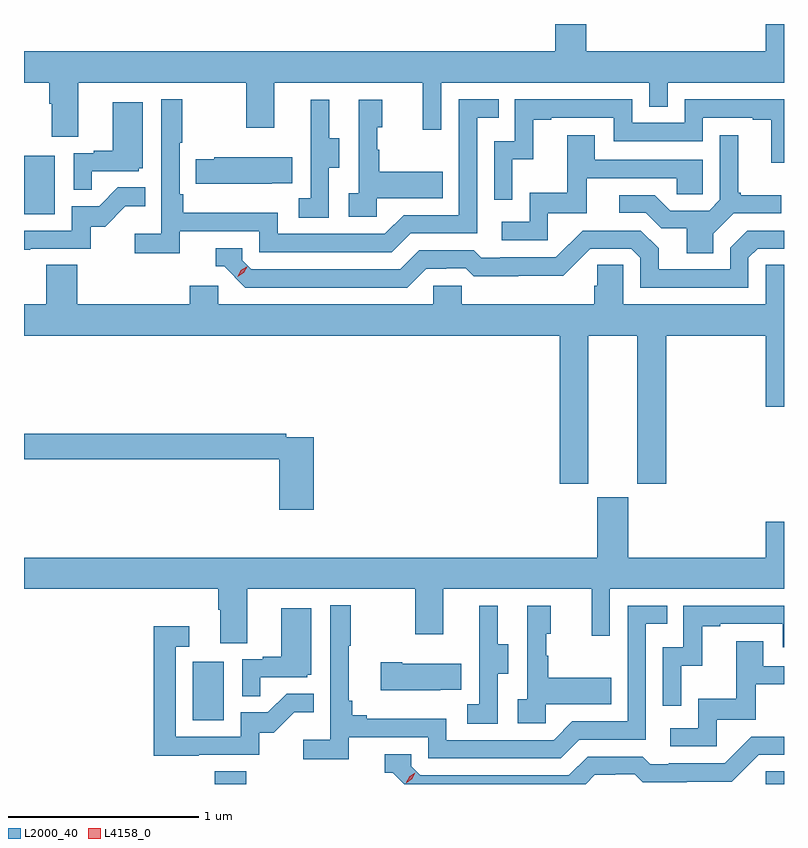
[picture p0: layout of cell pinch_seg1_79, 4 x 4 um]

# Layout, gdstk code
import gdstk
lib = gdstk.Library(unit=1e-6, precision=1e-09)
def R(c, l, rs):  # rectangles x0, y0, x1, y1
    for r in rs: c.add(gdstk.rectangle(r[:2], r[2:], *l))
def P(c, l, *ps):  # polygons
    for p in ps: c.add(gdstk.Polygon(p, *l))
L2000_40 = (2000, 40)
L4158_0 = (4158, 0)

pinch_seg1_79 = lib.new_cell('pinch_seg1_79')
R(pinch_seg1_79, L2000_40, [(1061.207,573.348,1061.372,573.416), (1064.107,573.348,1064.203,573.416), (1061.09,573.684,1061.254,573.991), (1060.203,576.348,1060.366,576.655)])
P(pinch_seg1_79, L2000_40, [(1060.489,577.04),(1061.374,577.04),(1061.374,576.801),(1061.521,576.801),(1061.521,577.04),(1062.302,577.04),(1062.302,576.792),(1062.399,576.792),(1062.399,577.04),(1063.494,577.04),(1063.494,576.913),(1063.59,576.913),(1063.59,577.04),(1064.203,577.04),(1064.203,577.348),(1064.108,577.348),(1064.108,577.204),(1063.162,577.204),(1063.162,577.348),(1062.998,577.348),(1062.998,577.204),(1060.203,577.204),(1060.203,577.04),(1060.337,577.04),(1060.337,576.928),(1060.349,576.928),(1060.349,576.754),(1060.489,576.754)],
  [(1061.024,576.258),(1061.442,576.258),(1061.442,576.147),(1062.139,576.147),(1062.238,576.246),(1062.588,576.246),(1062.588,576.855),(1062.701,576.855),(1062.701,576.951),(1062.492,576.951),(1062.492,576.342),(1062.201,576.342),(1062.102,576.243),(1061.538,576.243),(1061.538,576.355),(1061.042,576.355),(1061.042,576.451),(1061.022,576.451),(1061.022,576.724),(1061.035,576.724),(1061.035,576.952),(1060.926,576.952),(1060.926,576.244),(1060.785,576.244),(1060.785,576.142),(1061.024,576.142)],
  [(1062.774,576.635),(1062.884,576.635),(1062.884,576.843),(1062.979,576.843),(1062.979,576.855),(1063.308,576.855),(1063.308,576.732),(1063.776,576.732),(1063.776,576.855),(1064.039,576.855),(1064.039,576.843),(1064.135,576.843),(1064.135,576.617),(1064.203,576.617),(1064.203,576.951),(1063.68,576.951),(1063.68,576.828),(1063.404,576.828),(1063.404,576.951),(1062.786,576.951),(1062.786,576.732),(1062.678,576.732),(1062.678,576.423),(1062.774,576.423)],
  [(1061.808,576.592),(1061.863,576.592),(1061.863,576.747),(1061.809,576.747),(1061.809,576.949),(1061.711,576.949),(1061.711,576.735),(1061.712,576.735),(1061.712,576.431),(1061.649,576.431),(1061.649,576.328),(1061.808,576.328)],
  [(1062.06,576.431),(1062.407,576.431),(1062.407,576.571),(1062.073,576.571),(1062.073,576.686),(1062.063,576.686),(1062.063,576.804),(1062.088,576.804),(1062.088,576.949),(1061.964,576.949),(1061.964,576.458),(1061.913,576.458),(1061.913,576.333),(1062.06,576.333)],
  [(1060.559,576.573),(1060.806,576.573),(1060.806,576.588),(1060.828,576.588),(1060.828,576.937),(1060.67,576.937),(1060.67,576.682),(1060.571,576.682),(1060.571,576.669),(1060.464,576.669),(1060.464,576.475),(1060.559,576.475)],
  [(1062.96,576.351),(1063.165,576.351),(1063.165,576.537),(1063.639,576.537),(1063.639,576.453),(1063.776,576.453),(1063.776,576.633),(1063.207,576.633),(1063.207,576.763),(1063.063,576.763),(1063.063,576.46),(1062.864,576.46),(1062.864,576.306),(1062.717,576.306),(1062.717,576.21),(1062.96,576.21)],
  [(1063.831,576.244),(1063.938,576.351),(1064.188,576.351),(1064.188,576.448),(1063.975,576.448),(1063.975,576.46),(1063.963,576.46),(1063.963,576.763),(1063.866,576.763),(1063.866,576.423),(1063.809,576.366),(1063.603,576.366),(1063.522,576.447),(1063.335,576.447),(1063.335,576.354),(1063.476,576.354),(1063.556,576.274),(1063.691,576.274),(1063.691,576.142),(1063.831,576.142)],
  [(1061.507,576.509),(1061.615,576.509),(1061.615,576.646),(1061.205,576.646),(1061.205,576.636),(1061.107,576.636),(1061.107,576.506),(1061.507,576.506)],
  [(1060.235,576.165),(1060.554,576.165),(1060.554,576.282),(1060.63,576.282),(1060.737,576.389),(1060.841,576.389),(1060.841,576.488),(1060.697,576.488),(1060.599,576.39),(1060.455,576.39),(1060.455,576.261),(1060.203,576.261),(1060.203,576.16),(1060.235,576.16)],
  [(1062.319,576.06),(1062.426,576.06),(1062.426,576.063),(1062.529,576.063),(1062.571,576.021),(1062.804,576.021),(1062.804,576.023),(1063.04,576.023),(1063.182,576.165),(1063.398,576.165),(1063.446,576.117),(1063.446,575.961),(1064.016,575.961),(1064.016,576.117),(1064.064,576.165),(1064.203,576.165),(1064.203,576.261),(1064.01,576.261),(1063.92,576.171),(1063.92,576.057),(1063.543,576.057),(1063.543,576.167),(1063.449,576.261),(1063.143,576.261),(1063.002,576.12),(1062.709,576.12),(1062.709,576.117),(1062.61,576.117),(1062.571,576.156),(1062.282,576.156),(1062.183,576.057),(1061.4,576.057),(1061.352,576.105),(1061.352,576.168),(1061.213,576.168),(1061.213,576.072),(1061.256,576.072),(1061.367,575.961),(1062.22,575.961)],
  [(1063.174,575.708),(1063.43,575.708),(1063.43,574.929),(1063.583,574.929),(1063.583,575.708),(1064.108,575.708),(1064.108,575.334),(1064.203,575.334),(1064.203,576.08),(1064.106,576.08),(1064.106,575.872),(1063.356,575.872),(1063.356,576.08),(1063.219,576.08),(1063.219,575.97),(1063.205,575.97),(1063.205,575.872),(1062.507,575.872),(1062.507,575.97),(1062.357,575.97),(1062.357,575.872),(1061.226,575.872),(1061.226,575.97),(1061.075,575.97),(1061.075,575.872),(1060.484,575.872),(1060.484,576.08),(1060.319,576.08),(1060.319,575.872),(1060.203,575.872),(1060.203,575.708),(1063.022,575.708),(1063.022,574.929),(1063.174,574.929)],
  [(1061.729,575.172),(1061.582,575.172),(1061.582,575.192),(1060.203,575.192),(1060.203,575.056),(1061.546,575.056),(1061.546,574.791),(1061.729,574.791)],
  [(1061.377,574.376),(1062.262,574.376),(1062.262,574.137),(1062.409,574.137),(1062.409,574.376),(1063.19,574.376),(1063.19,574.128),(1063.287,574.128),(1063.287,574.376),(1064.203,574.376),(1064.203,574.729),(1064.108,574.729),(1064.108,574.54),(1063.384,574.54),(1063.384,574.857),(1063.22,574.857),(1063.22,574.54),(1060.203,574.54),(1060.203,574.376),(1061.225,574.376),(1061.225,574.264),(1061.237,574.264),(1061.237,574.09),(1061.377,574.09)],
  [(1061.912,573.594),(1062.33,573.594),(1062.33,573.483),(1063.027,573.483),(1063.126,573.582),(1063.476,573.582),(1063.476,574.191),(1063.589,574.191),(1063.589,574.287),(1063.38,574.287),(1063.38,573.678),(1063.089,573.678),(1062.99,573.579),(1062.426,573.579),(1062.426,573.691),(1062.007,573.691),(1062.007,573.71),(1061.93,573.71),(1061.93,573.787),(1061.911,573.787),(1061.911,574.075),(1061.923,574.075),(1061.923,574.288),(1061.814,574.288),(1061.814,573.58),(1061.673,573.58),(1061.673,573.478),(1061.912,573.478)],
  [(1063.662,573.971),(1063.772,573.971),(1063.772,574.179),(1063.867,574.179),(1063.867,574.191),(1064.196,574.191),(1064.196,574.068),(1064.203,574.068),(1064.203,574.287),(1063.674,574.287),(1063.674,574.068),(1063.566,574.068),(1063.566,573.759),(1063.662,573.759)],
  [(1062.696,573.928),(1062.751,573.928),(1062.751,574.083),(1062.697,574.083),(1062.697,574.285),(1062.599,574.285),(1062.599,574.071),(1062.6,574.071),(1062.6,573.767),(1062.537,573.767),(1062.537,573.664),(1062.696,573.664)],
  [(1062.948,573.767),(1063.295,573.767),(1063.295,573.907),(1062.961,573.907),(1062.961,574.022),(1062.951,574.022),(1062.951,574.14),(1062.976,574.14),(1062.976,574.285),(1062.852,574.285),(1062.852,573.794),(1062.801,573.794),(1062.801,573.669),(1062.948,573.669)],
  [(1061.447,573.909),(1061.694,573.909),(1061.694,573.924),(1061.716,573.924),(1061.716,574.273),(1061.558,574.273),(1061.558,574.018),(1061.459,574.018),(1061.459,574.005),(1061.352,574.005),(1061.352,573.811),(1061.447,573.811)],
  [(1061.123,573.501),(1061.442,573.501),(1061.442,573.618),(1061.518,573.618),(1061.625,573.725),(1061.729,573.725),(1061.729,573.824),(1061.585,573.824),(1061.487,573.726),(1061.343,573.726),(1061.343,573.597),(1061.001,573.597),(1061.001,574.071),(1061.074,574.071),(1061.074,574.177),(1060.885,574.177),(1060.885,573.496),(1061.123,573.496)],
  [(1063.848,573.687),(1064.053,573.687),(1064.053,573.873),(1064.203,573.873),(1064.203,573.969),(1064.095,573.969),(1064.095,574.099),(1063.951,574.099),(1063.951,573.796),(1063.752,573.796),(1063.752,573.642),(1063.605,573.642),(1063.605,573.546),(1063.848,573.546)],
  [(1062.395,573.845),(1062.503,573.845),(1062.503,573.982),(1062.193,573.982),(1062.193,573.99),(1062.081,573.99),(1062.081,573.842),(1062.395,573.842)],
  [(1063.207,573.396),(1063.314,573.396),(1063.314,573.399),(1063.417,573.399),(1063.459,573.357),(1063.692,573.357),(1063.692,573.359),(1063.928,573.359),(1064.07,573.501),(1064.203,573.501),(1064.203,573.597),(1064.031,573.597),(1063.89,573.456),(1063.597,573.456),(1063.597,573.453),(1063.498,573.453),(1063.459,573.492),(1063.17,573.492),(1063.071,573.393),(1062.288,573.393),(1062.24,573.441),(1062.24,573.504),(1062.101,573.504),(1062.101,573.408),(1062.144,573.408),(1062.204,573.348),(1063.159,573.348)])
P(pinch_seg1_79, L4158_0, [(1062.216,573.355),(1062.216,573.356),(1062.232,573.388),(1062.263,573.408),(1062.263,573.408),(1062.263,573.407),(1062.247,573.375),(1062.217,573.355)],
  [(1061.329,576.019),(1061.329,576.019),(1061.345,576.051),(1061.376,576.071),(1061.377,576.071),(1061.377,576.07),(1061.36,576.038),(1061.329,576.019)])

lib.write_gds('pinch_seg1_79.gds')
